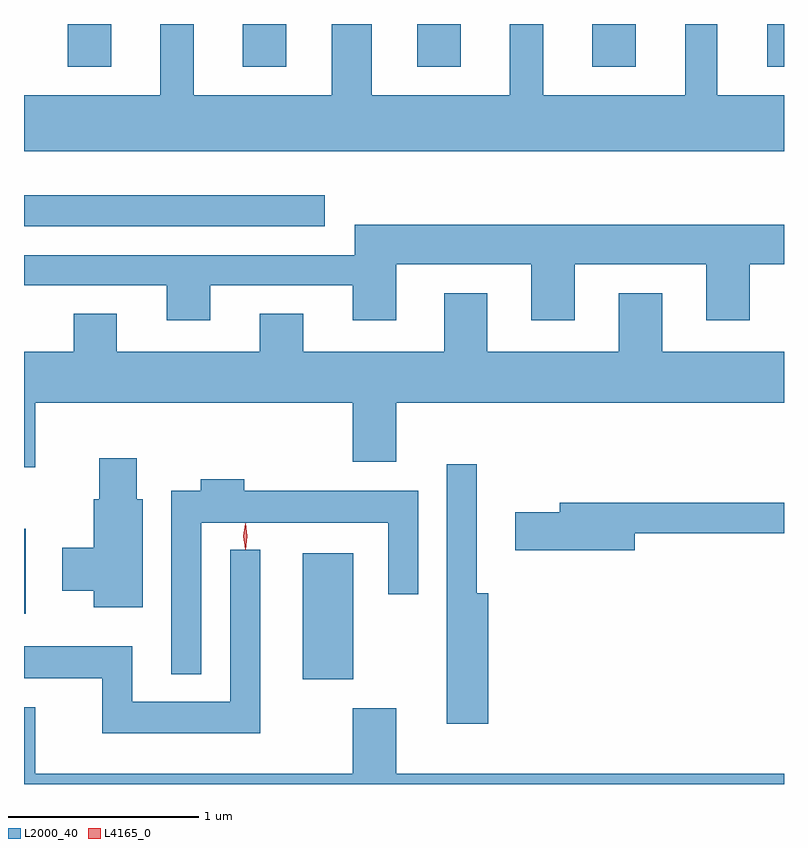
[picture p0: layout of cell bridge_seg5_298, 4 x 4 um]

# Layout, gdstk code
import gdstk
lib = gdstk.Library(unit=1e-6, precision=1e-09)
def R(c, l, rs):  # rectangles x0, y0, x1, y1
    for r in rs: c.add(gdstk.rectangle(r[:2], r[2:], *l))
def A(c, l, x, y, w, h, nx, ny, dx, dy):  # array of equal rectangles
    R(c, l, [(x+i*dx, y+j*dy, x+i*dx+w, y+j*dy+h) for i in range(nx) for j in range(ny)])
def P(c, l, *ps):  # polygons
    for p in ps: c.add(gdstk.Polygon(p, *l))
L2000_40 = (2000, 40)
L4165_0 = (4165, 0)

bridge_seg5_298 = lib.new_cell('bridge_seg5_298')
A(bridge_seg5_298, L2000_40, 696.871, 1518.506, 0.228, 0.224, 4, 1, 0.92, 0)
R(bridge_seg5_298, L2000_40, [(698.106,1515.281,698.374,1515.944), (696.64,1515.626,696.649,1516.074), (696.64,1517.666,698.223,1517.829), (700.551,1518.506,700.64,1518.73)])
P(bridge_seg5_298, L2000_40, [(700.64,1518.354),(700.289,1518.354),(700.289,1518.73),(700.121,1518.73),(700.121,1518.354),(699.374,1518.354),(699.374,1518.73),(699.196,1518.73),(699.196,1518.354),(698.469,1518.354),(698.469,1518.73),(698.261,1518.73),(698.261,1518.354),(697.534,1518.354),(697.534,1518.73),(697.356,1518.73),(697.356,1518.354),(696.64,1518.354),(696.64,1518.061),(700.64,1518.061)],
  [(697.619,1517.356),(698.371,1517.356),(698.371,1517.171),(698.599,1517.171),(698.599,1517.466),(699.311,1517.466),(699.311,1517.171),(699.539,1517.171),(699.539,1517.466),(700.231,1517.466),(700.231,1517.171),(700.459,1517.171),(700.459,1517.466),(700.64,1517.466),(700.64,1517.674),(698.381,1517.674),(698.381,1517.514),(696.64,1517.514),(696.64,1517.356),(697.391,1517.356),(697.391,1517.171),(697.619,1517.171)],
  [(698.371,1516.426),(698.599,1516.426),(698.599,1516.736),(700.64,1516.736),(700.64,1517.004),(699.999,1517.004),(699.999,1517.314),(699.771,1517.314),(699.771,1517.004),(699.079,1517.004),(699.079,1517.314),(698.851,1517.314),(698.851,1517.004),(698.109,1517.004),(698.109,1517.204),(697.881,1517.204),(697.881,1517.004),(697.129,1517.004),(697.129,1517.204),(696.901,1517.204),(696.901,1517.004),(696.64,1517.004),(696.64,1516.396),(696.699,1516.396),(696.699,1516.736),(698.371,1516.736)],
  [(697.264,1516.229),(697.234,1516.229),(697.234,1516.444),(697.036,1516.444),(697.036,1516.229),(697.006,1516.229),(697.006,1515.974),(696.841,1515.974),(696.841,1515.746),(697.006,1515.746),(697.006,1515.661),(697.264,1515.661)],
  [(699.084,1515.734),(699.024,1515.734),(699.024,1516.413),(698.866,1516.413),(698.866,1515.046),(699.084,1515.046)],
  [(697.574,1516.106),(698.556,1516.106),(698.556,1515.728),(698.714,1515.728),(698.714,1516.274),(697.799,1516.274),(697.799,1516.334),(697.571,1516.334),(697.571,1516.274),(697.416,1516.274),(697.416,1515.308),(697.574,1515.308)],
  [(699.854,1516.051),(700.64,1516.051),(700.64,1516.209),(699.461,1516.209),(699.461,1516.159),(699.226,1516.159),(699.226,1515.961),(699.854,1515.961)],
  [(697.884,1515.963),(697.726,1515.963),(697.726,1515.164),(697.209,1515.164),(697.209,1515.454),(696.64,1515.454),(696.64,1515.286),(697.051,1515.286),(697.051,1514.996),(697.884,1514.996)],
  [(700.64,1514.784),(698.599,1514.784),(698.599,1515.129),(698.371,1515.129),(698.371,1514.784),(696.699,1514.784),(696.699,1515.134),(696.64,1515.134),(696.64,1514.73),(700.64,1514.73)])
P(bridge_seg5_298, L4165_0, [(697.804,1515.964),(697.796,1516.033),(697.806,1516.102),(697.806,1516.103),(697.806,1516.102),(697.816,1516.033),(697.806,1515.964),(697.805,1515.964)],
  [(697.804,1515.967),(697.804,1515.967),(697.794,1516.034),(697.804,1516.1),(697.804,1516.101),(697.805,1516.1),(697.814,1516.034),(697.805,1515.967)])

lib.write_gds('bridge_seg5_298.gds')
